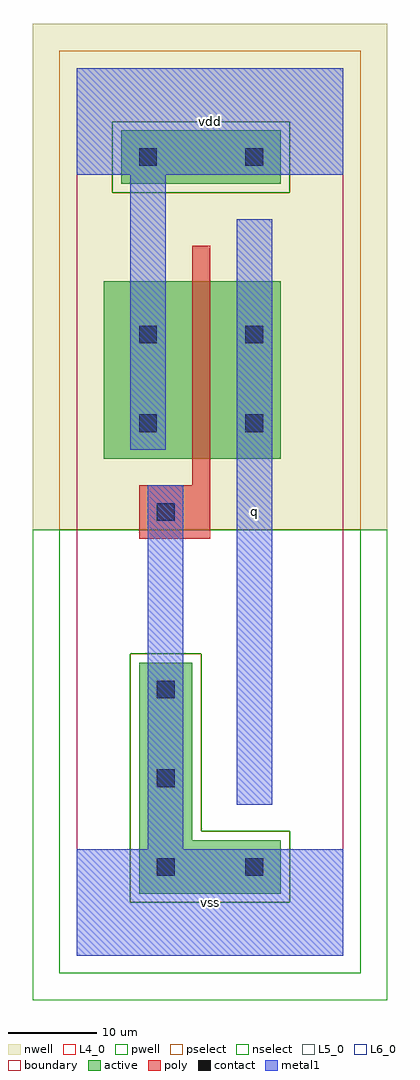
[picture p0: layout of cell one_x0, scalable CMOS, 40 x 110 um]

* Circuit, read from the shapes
.subckt one_x0 q vdd vss
M1 q vss vdd vdd pfet w=20u l=2u
.ends

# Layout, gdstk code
import gdstk
lib = gdstk.Library(unit=1e-6, precision=1e-09)
def R(c, l, rs):  # rectangles x0, y0, x1, y1
    for r in rs: c.add(gdstk.rectangle(r[:2], r[2:], *l))
def A(c, l, x, y, w, h, nx, ny, dx, dy):  # array of equal rectangles
    R(c, l, [(x+i*dx, y+j*dy, x+i*dx+w, y+j*dy+h) for i in range(nx) for j in range(ny)])
L4_0 = (4, 0)
L5_0 = (5, 0)
L6_0 = (6, 0)
contact = (25, 0)
pwell = (41, 0)
nwell = (42, 0)
active = (43, 0)
pselect = (44, 0)
nselect = (45, 0)
poly = (46, 0)
metal1 = (49, 0)
boundary = (63, 0)

one_x0 = lib.new_cell('one_x0')
R(one_x0, L4_0, [(3,56,23,76)])
R(one_x0, L5_0, [(5,87,23,93)])
R(one_x0, L6_0, [(7,7,23,13), (7,13,13,33)])
A(one_x0, contact, 9, 9, 2, 2, 1, 3, 0, 10)
R(one_x0, contact, [(19,9,21,11), (9,49,11,51), (7,59,9,61), (19,59,21,61), (7,69,9,71), (19,69,21,71), (7,89,9,91), (19,89,21,91)])
R(one_x0, pwell, [(-5,-5,35,48)])
R(one_x0, nwell, [(-5,48,35,105)])
R(one_x0, active, [(7,7,23,13), (7,13,13,33), (3,56,23,76), (5,87,23,93)])
R(one_x0, pselect, [(6,6,24,14), (6,14,14,34), (-2,48,32,86), (-2,86,4,94), (24,86,32,94), (-2,94,32,102)])
R(one_x0, nselect, [(-2,-2,32,6), (-2,6,6,34), (24,6,32,14), (14,14,32,34), (-2,34,32,48), (4,86,24,94)])
R(one_x0, poly, [(7,47,15,53), (13,53,15,80)])
R(one_x0, metal1, [(0,0,30,12), (8,12,12,53), (18,17,22,83), (6,57,10,88), (0,88,30,100)])
R(one_x0, boundary, [(0,0,30,100)])
one_x0.add(gdstk.Label('vss', (15,6), layer=49, texttype=0))
one_x0.add(gdstk.Label('vdd', (15,94), layer=49, texttype=0))
one_x0.add(gdstk.Label('q', (20,50), layer=49, texttype=0))

lib.write_gds('one_x0.gds')
